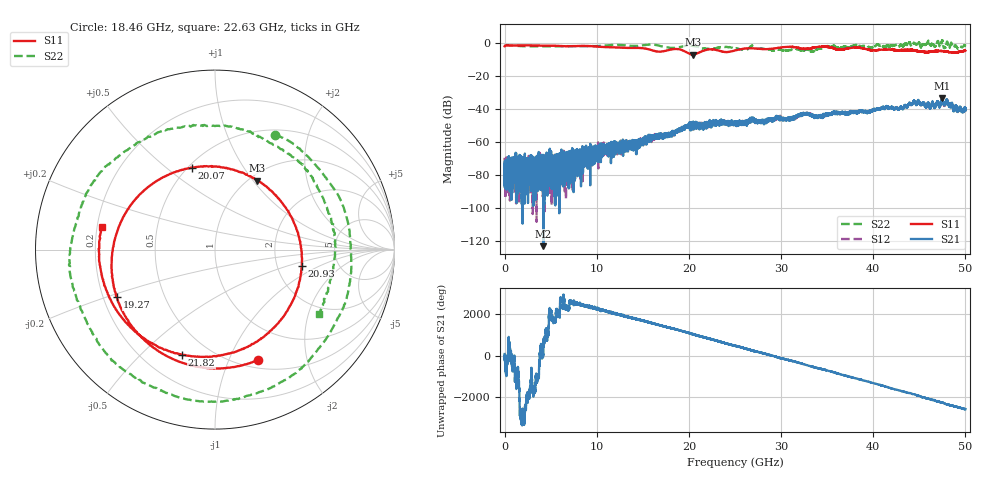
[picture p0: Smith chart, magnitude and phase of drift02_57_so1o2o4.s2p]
!Created with skrf (http://scikit-rf.org).
# Hz S RI R 50.0
!freq ReS11 ImS11 ReS21 ImS21 ReS12 ImS12 ReS22 ImS22
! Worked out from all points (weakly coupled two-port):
!   10001 points, 300 kHz to 50 GHz, reference 50 ohm
!   highest |S21| = -33.44 dB at 47.47 GHz (marker M1); lowest = -123.2 dB at 4.2 GHz (marker M2)
!   lowest |S11| = -6.9 dB at 20.41 GHz (marker M3), VSWR 2.64, Z = 54.2 + j52.3 ohm
!   |S11| at or under -10 dB: nowhere
!   |S22| runs from -5.3 to 1.6 dB; largest |S21 - S12| = 0.0035
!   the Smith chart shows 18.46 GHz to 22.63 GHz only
!   S11 on the Smith chart (normalised r, x): 18.46 GHz: 0.59, -1.28; 19.27 GHz: 0.26, -0.21; 20.07 GHz: 0.52, +0.62; 20.93 GHz: 2.76, -0.65; 21.82 GHz: 0.36, -0.67; 22.63 GHz: 0.22, +0.09
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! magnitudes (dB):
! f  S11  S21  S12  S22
! 300 kHz  -2.1  -72.2  -69.6  -1.3
! 260.3 MHz  -1.4  -77.6  -79.1  -1.4
! 4.2 GHz  -1.6  -123.2  -80.5  -2.0
! 8.335 GHz  -1.7  -64.8  -70.7  -1.9
! 16.67 GHz  -5.2  -55.8  -56.7  -1.4
! 18.46 GHz  -3.6  -56.0  -54.3  -2.8
! 19.27 GHz  -4.3  -51.5  -51.5  -2.1
! 20.07 GHz  -6.5  -50.8  -49.6  -1.5
! 20.41 GHz  -6.9  -49.8  -52.3  -1.7
! 20.93 GHz  -6.2  -48.7  -49.5  -2.2
! 21.82 GHz  -4.2  -49.5  -50.3  -3.5
! 22.63 GHz  -3.8  -48.9  -48.5  -3.3
! 25 GHz  -4.5  -49.1  -49.1  -3.2
! 26.12 GHz  -3.3  -48.9  -48.4  -4.3
! 26.9 GHz  -3.2  -46.7  -46.5  -1.7
! 28.17 GHz  -3.7  -48.0  -47.3  -3.4
! 33.34 GHz  -3.0  -43.8  -43.8  -5.1
! 34.9 GHz  -2.3  -43.9  -43.1  -2.1
! 41.67 GHz  -3.9  -39.4  -39.4  -2.2
! 44.59 GHz  -4.7  -36.5  -36.6  -0.5
! 47.47 GHz  -4.8  -33.4  -34.0  1.5
! 50 GHz  -4.7  -40.9  -41.3  -1.5
